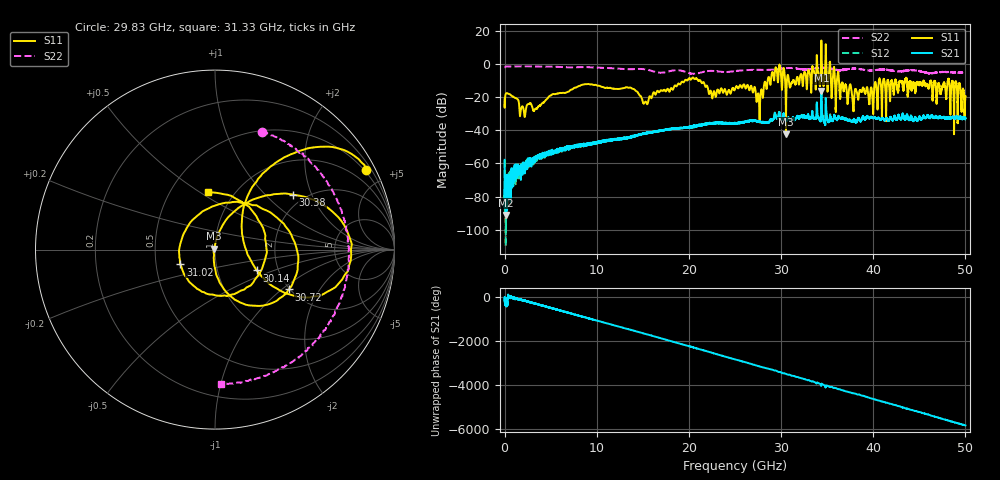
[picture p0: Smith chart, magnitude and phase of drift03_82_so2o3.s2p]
!Created with skrf (http://scikit-rf.org).
# Hz S RI R 50.0
!freq ReS11 ImS11 ReS21 ImS21 ReS12 ImS12 ReS22 ImS22
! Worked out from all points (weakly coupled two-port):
!   10001 points, 300 kHz to 50 GHz, reference 50 ohm
!   highest |S21| = -16.15 dB at 34.37 GHz (marker M1); lowest = -91.1 dB at 175.3 MHz (marker M2)
!   lowest |S11| = -42.5 dB at 30.53 GHz (marker M3), VSWR 1.02, Z = 49.4 + j0.437 ohm
!   |S11| at or under -10 dB: start of sweep to 19.55 GHz; 21.25 GHz to 28.55 GHz (7.297 GHz wide, 29.3 % of centre); 36.28 GHz to 40.61 GHz (4.329 GHz wide, 11.3 % of centre) (the widest 3 of 35)
!   |S22| runs from -5.9 to -1.3 dB; largest |S21 - S12| = 0.028
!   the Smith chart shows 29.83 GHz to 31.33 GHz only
!   S11 on the Smith chart (normalised r, x): 29.83 GHz: 0.42, +3.98; 30.14 GHz: 1.55, -0.39; 30.38 GHz: 1.74, +1.48; 30.72 GHz: 1.97, -1.12; 31.02 GHz: 0.67, -0.12; 31.33 GHz: 0.76, +0.54
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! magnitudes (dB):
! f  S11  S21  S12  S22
! 300 kHz  -21.4  -57.8  -58.0  -2.1
! 175.3 MHz  -17.6  -91.1  -76.1  -1.5
! 3.3 GHz  -27.2  -56.3  -57.5  -1.5
! 8.335 GHz  -12.6  -48.9  -49.0  -1.9
! 15.28 GHz  -22.8  -41.9  -41.8  -3.2
! 16.67 GHz  -16.5  -40.3  -40.4  -5.1
! 20.26 GHz  -9.2  -38.3  -37.8  -5.8
! 22.71 GHz  -16.4  -35.6  -35.7  -4.2
! 25 GHz  -15.3  -35.7  -35.7  -4.2
! 27.53 GHz  -17.8  -34.5  -34.5  -3.5
! 29.83 GHz  -0.4  -29.2  -28.5  -3.0
! 30.14 GHz  -11.7  -33.3  -33.4  -2.7
! 30.38 GHz  -5.5  -31.9  -32.4  -2.6
! 30.53 GHz  -42.5  -34.3  -34.1  -2.5
! 30.72 GHz  -6.6  -32.7  -32.8  -2.5
! 31.02 GHz  -13.5  -34.3  -34.3  -2.4
! 31.33 GHz  -9.8  -32.4  -32.4  -2.5
! 33.34 GHz  -7.4  -31.2  -31.1  -2.9
! 34.37 GHz  14.2  -16.2  -17.4  -2.3
! 37.87 GHz  -28.5  -33.7  -34.1  -2.8
! 41.67 GHz  -11.3  -34.2  -34.2  -3.6
! 50 GHz  -19.3  -32.7  -33.0  -4.9
